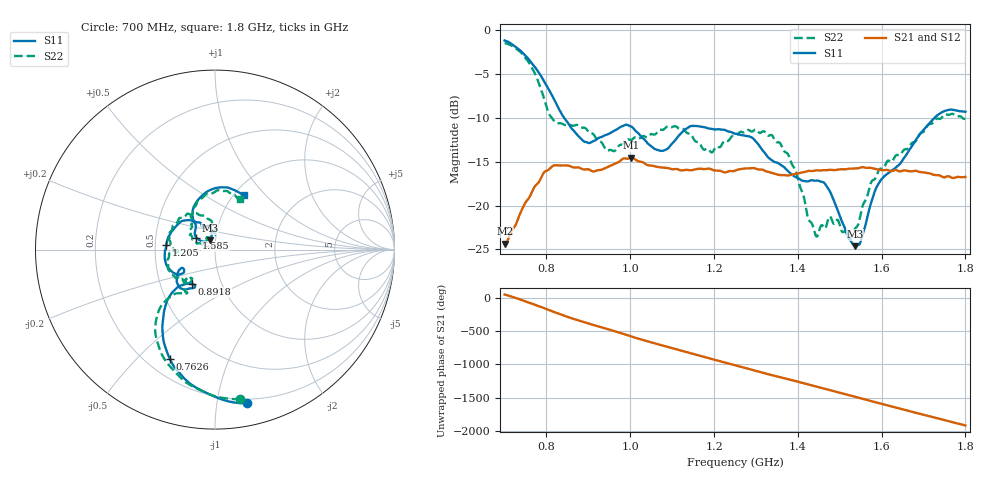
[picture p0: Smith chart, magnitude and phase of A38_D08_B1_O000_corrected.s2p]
! Created with skrf 1.9.0 (http://scikit-rf.org).
# Hz S RI R 50.0
!freq ReS11 ImS11 ReS21 ImS21 ReS12 ImS12 ReS22 ImS22
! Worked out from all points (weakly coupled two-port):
!   1601 points, 700 MHz to 1.8 GHz, reference 50 ohm
!   highest |S21| = -14.56 dB at 1.002 GHz (marker M1); lowest = -24.4 dB at 700.7 MHz (marker M2)
!   lowest |S11| = -24.6 dB at 1.537 GHz (marker M3), VSWR 1.12, Z = 47 + j4.84 ohm
!   |S11| at or under -10 dB: 842.1 MHz to 1.726 GHz (884.3 MHz wide, 68.9 % of centre)
!   |S22| runs from -23.9 to -1.5 dB; largest |S21 - S12| = 0.0035
!   S11 on the Smith chart (normalised r, x): 700 MHz: 0.17, -1.21; 762.6 MHz: 0.29, -0.63; 891.8 MHz: 0.72, -0.29; 1.205 GHz: 0.57, +0.03; 1.585 GHz: 0.80, +0.11; 1.8 GHz: 1.11, +0.76
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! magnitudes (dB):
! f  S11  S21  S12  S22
! 700 MHz  -1.2  -24.4  -24.1  -1.5
! 700.7 MHz  -1.2  -24.4  -24.1  -1.5
! 762.6 MHz  -3.6  -18.7  -18.7  -4.1
! 815.5 MHz  -7.6  -15.5  -15.6  -10.2
! 883.6 MHz  -12.4  -15.8  -15.7  -11.1
! 891.8 MHz  -12.7  -15.9  -15.9  -11.2
! 945.4 MHz  -11.9  -15.6  -15.6  -13.7
! 1.002 GHz  -11.0  -14.6  -14.7  -12.5
! 1.067 GHz  -13.7  -15.6  -15.6  -11.5
! 1.143 GHz  -11.0  -16.0  -16.0  -11.8
! 1.205 GHz  -11.3  -16.0  -16.1  -13.3
! 1.25 GHz  -11.8  -16.0  -16.0  -12.0
! 1.358 GHz  -15.3  -16.5  -16.5  -12.9
! 1.394 GHz  -16.7  -16.4  -16.4  -16.0
! 1.434 GHz  -17.1  -16.1  -16.0  -22.1
! 1.445 GHz  -17.1  -16.0  -16.0  -23.6
! 1.47 GHz  -17.9  -16.0  -15.9  -22.0
! 1.537 GHz  -24.6  -15.8  -15.8  -22.6
! 1.585 GHz  -18.2  -15.8  -15.8  -16.9
! 1.617 GHz  -16.3  -16.0  -16.0  -14.9
! 1.734 GHz  -9.7  -16.5  -16.6  -10.1
! 1.8 GHz  -9.3  -16.7  -16.7  -10.1
